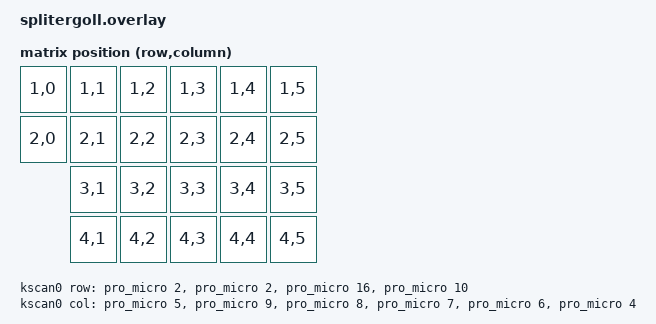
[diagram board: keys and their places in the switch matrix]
#include <dt-bindings/zmk/matrix_transform.h>

/ {
    chosen {
        zmk,kscan = &kscan0;
        zmk,matrix-transform = &default_transform;
    };

    kscan0: kscan_0 {
        compatible = "zmk,kscan-gpio-matrix";
        diode-direction = "col2row";

        col-gpios
            = <&pro_micro 5 GPIO_ACTIVE_HIGH>
            , <&pro_micro 9 GPIO_ACTIVE_HIGH>
            , <&pro_micro 8 GPIO_ACTIVE_HIGH>
            , <&pro_micro 7 GPIO_ACTIVE_HIGH>
            , <&pro_micro 6 GPIO_ACTIVE_HIGH>
            , <&pro_micro 4 GPIO_ACTIVE_HIGH>
            ;

        row-gpios
            = <&pro_micro 2 (GPIO_ACTIVE_HIGH | GPIO_PULL_DOWN)>
            , <&pro_micro 2 (GPIO_ACTIVE_HIGH | GPIO_PULL_DOWN)>
            , <&pro_micro 16 (GPIO_ACTIVE_HIGH | GPIO_PULL_DOWN)>
            , <&pro_micro 10 (GPIO_ACTIVE_HIGH | GPIO_PULL_DOWN)>
            ;
    };

    default_transform: keymap_transform_0 {
        compatible = "zmk,matrix-transform";
        columns = <6>;
        rows = <4>;

//         |           |           |           |           |           |           |   |           |           |           |           |           |           |
        map = <
            RC(1,0)     RC(1,1)     RC(1,2)     RC(1,3)     RC(1,4)     RC(1,5)
            RC(2,0)     RC(2,1)     RC(2,2)     RC(2,3)     RC(2,4)     RC(2,5)
                        RC(3,1)     RC(3,2)     RC(3,3)     RC(3,4)     RC(3,5)
                        RC(4,1)     RC(4,2)     RC(4,3)     RC(4,4)     RC(4,5)
        >;
//         |           |           |           |           |           |           |   |           |           |           |           |           |           |
    };
};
